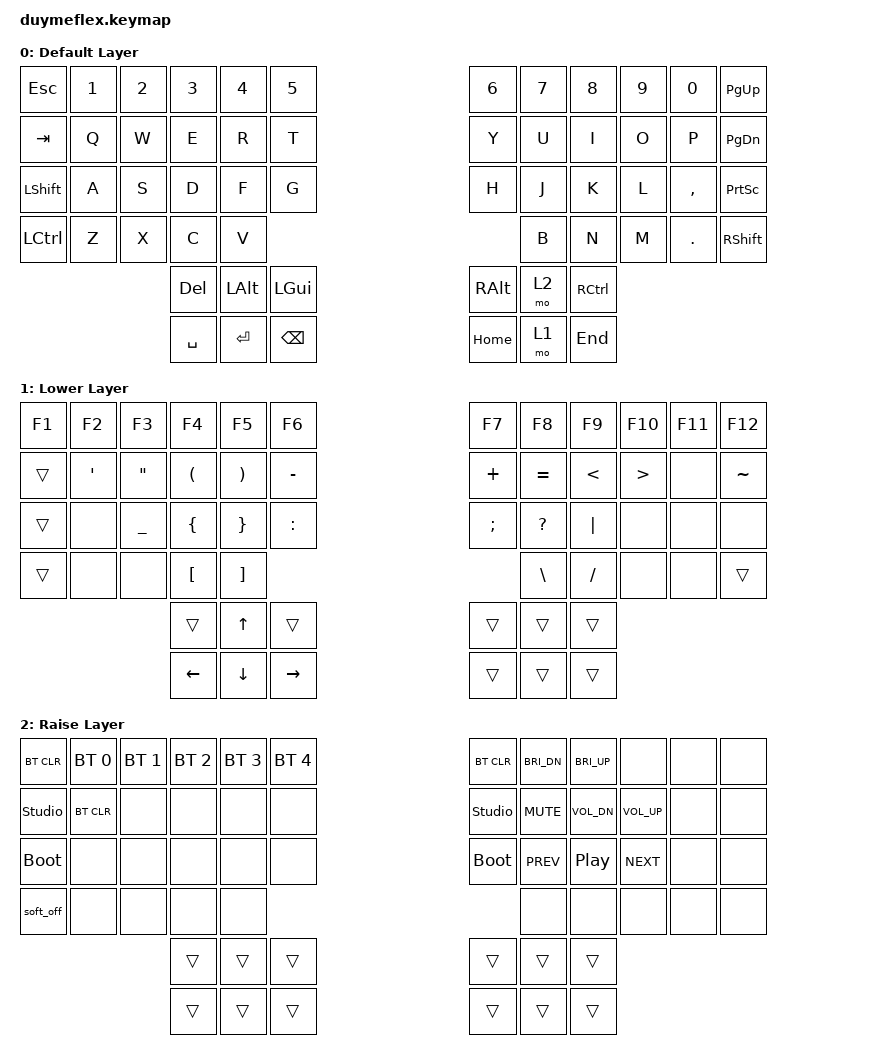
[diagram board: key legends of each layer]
#include <behaviors.dtsi>
#include <dt-bindings/zmk/keys.h>
#include <dt-bindings/zmk/bt.h>

/ {
    keymap {
        compatible = "zmk,keymap";

        default_layer {
            display-name = "Default Layer";

// ---------------------------------------------------------------------------------------------------------
// |   ESC   |   1   |   2   |   3   |   4   |   5   |     |   6   |   7     |   8   |   9   |    0    | PageUp  |
// |   TAB   |   Q   |   W   |   E   |   R   |   T   |     |   Y   |   U     |   I   |   O   |    P    | PageDown|
// | LSHIFT  |   A   |   S   |   D   |   F   |   G   |     |   H   |   J     |   K   |   L   |    ,    | PrintS  |
// |   CTRL  |   Z   |   X   |   C   |   V   |                     |   B     |   N   |   M   |    .    | SHIFT   |
// |         |       |       |  DEL  | LALT  | LGUI  |     | RALT  | &mo 2   | RCTRL |       |         |         |
// |         |       |       | BSPC  |  RET  | SPACE |     | HOME  | &mo 1   |  END  |       |         |         |


            bindings = <
  &kp ESC    &kp N1  &kp N2  &kp N3    &kp N4   &kp N5       &kp N6   &kp N7    &kp N8    &kp N9   &kp N0    &kp PG_UP
  &kp TAB    &kp Q   &kp W   &kp E     &kp R    &kp T        &kp Y    &kp U     &kp I     &kp O    &kp P     &kp PG_DN
  &kp LSHIFT &kp A   &kp S   &kp D     &kp F    &kp G        &kp H    &kp J     &kp K     &kp L    &kp COMMA &kp PSCRN
  &kp LCTRL  &kp Z   &kp X   &kp C     &kp V                          &kp B     &kp N     &kp M    &kp DOT   &kp RSHIFT
                             &kp DEL   &kp LALT &kp LGUI     &kp RALT &mo 2     &kp RCTRL
                             &kp SPACE &kp RET  &kp BSPC     &kp HOME &mo 1     &kp END
            >;
        };

        lower_layer {
            display-name = "Lower Layer";



// |   F1    |   F2  |    F3  |   F4    |   F5    |   F6  |      |  F7    |   F8     |   F9    |   F10 |    F11  |  F12    |
// |   trans |   '   |    "   |   (     |   )     |   -   |      |  +     |   =      |    <    |   >   |         |    ~    |
// |   trans |       |    _   |   {     |   }     |   :   |      |  ;     |   ?      |    |    |       |         |         |
// |   trans |       |        |   [     |   ]     |                       |   \      |    /    |       |         |         |
// |         |       |        |  trans  |   UP    | trans |      |  trans |   trans  | trans   |       |         |         |
// |         |       |        |  LEFT   | DOWN    | RIGHT |      |  trans |  trans   | trans   |       |         |         |


            bindings = <
  &kp F1     &kp F2    &kp F3    &kp F4    &kp F5   &kp F6       &kp F7    &kp F8    &kp F9    &kp F10   &kp F11   &kp F12
  &trans     &kp SQT   &kp DQT   &kp LPAR  &kp RPAR &kp MINUS    &kp PLUS  &kp EQUAL &kp LT    &kp GT    &none     &kp TILDE
  &trans     &none     &kp UNDER &kp LBRC  &kp RBRC &kp COLON    &kp SEMI  &kp QMARK &kp PIPE  &none     &none     &none
  &trans     &none     &none     &kp LBKT  &kp RBKT                        &kp BSLH  &kp FSLH  &none     &none     &trans
                                 &trans    &kp UP   &trans       &trans    &trans    &trans
                                 &kp LEFT  &kp DOWN &kp RIGHT    &trans    &trans    &trans
            >;
        };        

        raise__layer {
            display-name = "Raise Layer";

// ---------------------------------------------------------------------------------------------------------
// |         |       |       |       |       |       |     |       |        |       |       |         |         |
// |         |       |       |       |       |       |     |       |        |       |       |         |         |
// |         |       |       |       |       |       |     |       |        |       |       |         |         |
// |         |       |       |       |       |                     |        |       |       |         |         |
// |         |       |       |       |       |       |     |       |        |       |       |         |         |
// |         |       |       |       |       |       |     |       |        |       |       |         |         |

 
            bindings = <
  &bt BT_CLR     &bt BT_SEL 0 &bt BT_SEL 1  &bt BT_SEL 2 &bt BT_SEL 3  &bt BT_SEL 4     &bt BT_CLR     &kp C_BRI_DN  &kp C_BRI_UP &none        &none    &none
  &studio_unlock &bt BT_CLR   &none         &none        &none         &none            &studio_unlock &kp C_MUTE    &kp C_VOL_DN &kp C_VOL_UP &none    &none
  &bootloader    &none        &none         &none        &none         &none            &bootloader    &kp C_PREV    &kp C_PP     &kp C_NEXT   &none    &none
  &soft_off      &none        &none         &none        &none                                         &none         &none        &none        &none    &none
                                            &trans       &trans        &trans           &trans         &trans        &trans
                                            &trans       &trans        &trans           &trans         &trans        &trans
            >;
        };
    };
};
